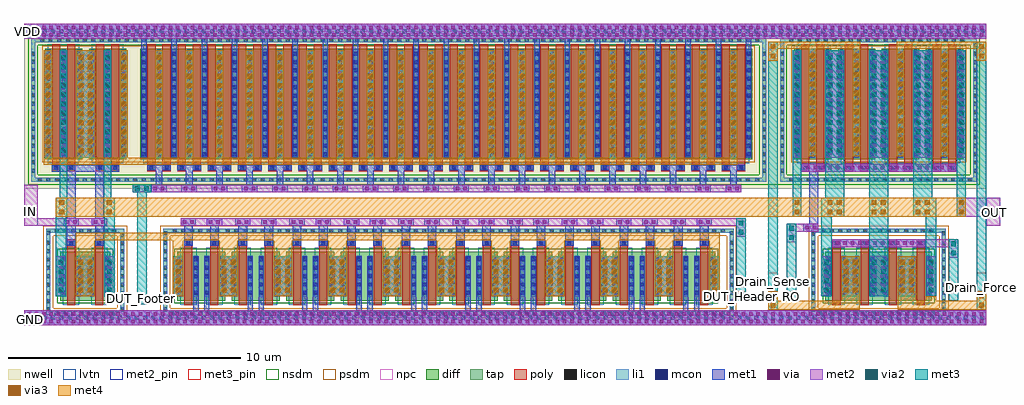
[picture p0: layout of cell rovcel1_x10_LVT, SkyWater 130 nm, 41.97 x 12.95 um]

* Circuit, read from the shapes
.subckt rovcel1_x10_LVT DUT_Footer DUT_Header Drain_Force Drain_Sense GND IN OUT RO RON VDD
XM1 n1 IN OUT GND sky130_fd_pr__nfet_01v8_lvt w=2.1 l=0.35 m=2
XM2 GND DUT_Header n1 GND sky130_fd_pr__nfet_01v8_lvt w=2.1 l=0.35 m=20
XM3 Drain_Sense RON OUT GND sky130_fd_pr__nfet_01v8_lvt w=2.1 l=0.35 m=2
XM4 Drain_Force RON OUT GND sky130_fd_pr__nfet_01v8_lvt w=2.1 l=0.35 m=2
XM5 OUT IN n2 VDD sky130_fd_pr__pfet_01v8_lvt w=4.75 l=0.35 m=4
XM6 n2 DUT_Footer VDD VDD sky130_fd_pr__pfet_01v8_lvt w=4.75 l=0.35 m=40
XM7 Drain_Sense RO OUT VDD sky130_fd_pr__pfet_01v8_lvt w=4.75 l=0.35 m=4
XM8 Drain_Force RO OUT VDD sky130_fd_pr__pfet_01v8_lvt w=4.75 l=0.35 m=4
.ends

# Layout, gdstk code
from math import pi, radians
import gdstk
lib = gdstk.Library(unit=1e-6, precision=1e-09)
def R(c, l, rs):  # rectangles x0, y0, x1, y1
    for r in rs: c.add(gdstk.rectangle(r[:2], r[2:], *l))
def A(c, l, x, y, w, h, nx, ny, dx, dy):  # array of equal rectangles
    R(c, l, [(x+i*dx, y+j*dy, x+i*dx+w, y+j*dy+h) for i in range(nx) for j in range(ny)])
def P(c, l, *ps):  # polygons
    for p in ps: c.add(gdstk.Polygon(p, *l))
nwell = (64, 20)
diff = (65, 20)
tap = (65, 44)
poly = (66, 20)
licon = (66, 44)
li1 = (67, 20)
mcon = (67, 44)
met1 = (68, 20)
via = (68, 44)
met2_pin = (69, 16)
met2 = (69, 20)
via2 = (69, 44)
met3_pin = (70, 16)
met3 = (70, 20)
via3 = (70, 44)
met4 = (71, 20)
nsdm = (93, 44)
psdm = (94, 20)
npc = (95, 20)
lvtn = (125, 44)

nfet = lib.new_cell('nfet')
R(nfet, diff, [(0,0,0.95,2.1)])
R(nfet, poly, [(0.3,-0.2,0.65,2.3), (0.3,2.3,0.65,2.63)])
A(nfet, licon, 0.065, 0.245, 0.17, 0.17, 1, 5, 0, 0.36)
A(nfet, licon, 0.715, 0.245, 0.17, 0.17, 1, 5, 0, 0.36)
R(nfet, licon, [(0.39,2.38,0.56,2.55)])
R(nfet, li1, [(0.065,0.165,0.235,1.935), (0.715,0.165,0.885,1.935), (0.31,2.38,0.64,2.55)])
A(nfet, mcon, 0.065, 0.245, 0.17, 0.17, 1, 5, 0, 0.36)
A(nfet, mcon, 0.715, 0.245, 0.17, 0.17, 1, 5, 0, 0.36)
R(nfet, mcon, [(0.39,2.38,0.56,2.55)])
R(nfet, met1, [(0.035,0.185,0.265,1.915), (0.685,0.185,0.915,1.915), (0.29,2.35,0.66,2.58)])
R(nfet, nsdm, [(-0.125,-0.125,1.075,2.225)])
R(nfet, npc, [(0.29,2.29,0.66,2.64)])
R(nfet, lvtn, [(0.12,-0.18,0.83,2.28)])

pfet_4 = lib.new_cell('pfet$4')
R(pfet_4, nwell, [(-0.305,-0.72,1.255,5.13)])
R(pfet_4, diff, [(0,0,0.95,4.75)])
R(pfet_4, poly, [(0.3,-0.53,0.65,-0.2), (0.3,-0.2,0.65,4.95)])
A(pfet_4, licon, 0.065, 0.13, 0.17, 0.17, 1, 13, 0, 0.36)
A(pfet_4, licon, 0.715, 0.13, 0.17, 0.17, 1, 13, 0, 0.36)
R(pfet_4, licon, [(0.39,-0.45,0.56,-0.28)])
R(pfet_4, li1, [(0.31,-0.45,0.64,-0.28), (0.065,0.05,0.235,4.7), (0.715,0.05,0.885,4.7)])
A(pfet_4, mcon, 0.065, 0.13, 0.17, 0.17, 1, 13, 0, 0.36)
A(pfet_4, mcon, 0.715, 0.13, 0.17, 0.17, 1, 13, 0, 0.36)
R(pfet_4, mcon, [(0.39,-0.45,0.56,-0.28)])
R(pfet_4, met1, [(0.29,-0.48,0.66,-0.25), (0.035,0.07,0.265,4.68), (0.685,0.07,0.915,4.68)])
R(pfet_4, psdm, [(-0.125,-0.125,1.075,4.875)])
R(pfet_4, npc, [(0.29,-0.54,0.66,-0.19)])
R(pfet_4, lvtn, [(0.12,-0.18,0.83,4.93)])

vias_gen_59 = lib.new_cell('vias_gen$59')
R(vias_gen_59, li1, [(0,0,41.375,0.64)])
A(vias_gen_59, mcon, 0.08, 0.235, 0.17, 0.17, 115, 1, 0.36, 0)
R(vias_gen_59, met1, [(0,0,41.375,0.64)])
A(vias_gen_59, via, 0.135, 0.085, 0.15, 0.15, 129, 2, 0.32, 0.32)
R(vias_gen_59, met2, [(0,0,41.375,0.64)])

vias_gen_33 = lib.new_cell('vias_gen$33')
R(vias_gen_33, met1, [(0,0,0.66,0.33)])
R(vias_gen_33, via, [(0.095,0.09,0.245,0.24), (0.415,0.09,0.565,0.24)])
R(vias_gen_33, met2, [(0,0,0.66,0.33)])

vias_gen_61 = lib.new_cell('vias_gen$61')
R(vias_gen_61, met1, [(0,0,4.63,0.33)])
A(vias_gen_61, via, 0.16, 0.09, 0.15, 0.15, 14, 1, 0.32, 0)
R(vias_gen_61, met2, [(0,0,4.63,0.33)])
A(vias_gen_61, via2, 0.215, 0.065, 0.2, 0.2, 11, 1, 0.4, 0)
R(vias_gen_61, met3, [(0,0,4.63,0.33)])
A(vias_gen_61, via3, 0.215, 0.065, 0.2, 0.2, 11, 1, 0.4, 0)
R(vias_gen_61, met4, [(0,0,4.63,0.33)])

vias_gen_58 = lib.new_cell('vias_gen$58')
R(vias_gen_58, met2, [(0,0,0.38,0.8)])
R(vias_gen_58, via2, [(0.09,0.1,0.29,0.3), (0.09,0.5,0.29,0.7)])
R(vias_gen_58, met3, [(0,0,0.38,0.8)])
R(vias_gen_58, via3, [(0.09,0.1,0.29,0.3), (0.09,0.5,0.29,0.7)])
R(vias_gen_58, met4, [(0,0,0.38,0.8)])

vias_gen_55 = lib.new_cell('vias_gen$55')
R(vias_gen_55, met3, [(0,0,0.82,0.8)])
R(vias_gen_55, via3, [(0.11,0.1,0.31,0.3), (0.51,0.1,0.71,0.3), (0.11,0.5,0.31,0.7), (0.51,0.5,0.71,0.7)])
R(vias_gen_55, met4, [(0,0,0.82,0.8)])

vias_gen_57 = lib.new_cell('vias_gen$57')
R(vias_gen_57, met3, [(0,0,0.38,0.8)])
R(vias_gen_57, via3, [(0.09,0.1,0.29,0.3), (0.09,0.5,0.29,0.7)])
R(vias_gen_57, met4, [(0,0,0.38,0.8)])

vias_gen_50 = lib.new_cell('vias_gen$50')
R(vias_gen_50, met3, [(0,0,0.4,0.8)])
R(vias_gen_50, via3, [(0.1,0.1,0.3,0.3), (0.1,0.5,0.3,0.7)])
R(vias_gen_50, met4, [(0,0,0.4,0.8)])

vias_gen_40 = lib.new_cell('vias_gen$40')
R(vias_gen_40, met1, [(0,0,0.35,6.69)])
A(vias_gen_40, via, 0.1, 0.23, 0.15, 0.15, 1, 20, 0, 0.32)
R(vias_gen_40, met2, [(0,0,0.35,6.69)])

vias_gen_52 = lib.new_cell('vias_gen$52')
R(vias_gen_52, met1, [(0,0,0.82,4.61)])
A(vias_gen_52, via, 0.175, 0.15, 0.15, 0.15, 1, 14, 0, 0.32)
A(vias_gen_52, via, 0.495, 0.15, 0.15, 0.15, 1, 14, 0, 0.32)
R(vias_gen_52, met2, [(0,0,0.82,4.61)])
A(vias_gen_52, via2, 0.11, 0.205, 0.2, 0.2, 1, 11, 0, 0.4)
A(vias_gen_52, via2, 0.51, 0.205, 0.2, 0.2, 1, 11, 0, 0.4)
R(vias_gen_52, met3, [(0,0,0.82,4.61)])

vias_gen_54 = lib.new_cell('vias_gen$54')
R(vias_gen_54, met1, [(0,0,0.38,4.61)])
A(vias_gen_54, via, 0.115, 0.15, 0.15, 0.15, 1, 14, 0, 0.32)
R(vias_gen_54, met2, [(0,0,0.38,4.61)])
A(vias_gen_54, via2, 0.09, 0.205, 0.2, 0.2, 1, 11, 0, 0.4)
R(vias_gen_54, met3, [(0,0,0.38,4.61)])

vias_gen_53 = lib.new_cell('vias_gen$53')
R(vias_gen_53, met1, [(0,0,4.61,0.33)])
A(vias_gen_53, via, 0.15, 0.09, 0.15, 0.15, 14, 1, 0.32, 0)
R(vias_gen_53, met2, [(0,0,4.61,0.33)])
A(vias_gen_53, via2, 0.205, 0.065, 0.2, 0.2, 11, 1, 0.4, 0)
R(vias_gen_53, met3, [(0,0,4.61,0.33)])
A(vias_gen_53, via3, 0.205, 0.065, 0.2, 0.2, 11, 1, 0.4, 0)
R(vias_gen_53, met4, [(0,0,4.61,0.33)])

vias_gen_28 = lib.new_cell('vias_gen$28')
R(vias_gen_28, met1, [(0,0,1.73,0.8)])
A(vias_gen_28, via, 0.15, 0.165, 0.15, 0.15, 5, 2, 0.32, 0.32)
R(vias_gen_28, met2, [(0,0,1.73,0.8)])
A(vias_gen_28, via2, 0.165, 0.1, 0.2, 0.2, 4, 2, 0.4, 0.4)
R(vias_gen_28, met3, [(0,0,1.73,0.8)])
A(vias_gen_28, via3, 0.165, 0.1, 0.2, 0.2, 4, 2, 0.4, 0.4)
R(vias_gen_28, met4, [(0,0,1.73,0.8)])

vias_gen_27 = lib.new_cell('vias_gen$27')
R(vias_gen_27, met1, [(0,0,1.73,0.45)])
A(vias_gen_27, via, 0.15, 0.15, 0.15, 0.15, 5, 1, 0.32, 0)
R(vias_gen_27, met2, [(0,0,1.73,0.45)])
A(vias_gen_27, via2, 0.165, 0.125, 0.2, 0.2, 4, 1, 0.4, 0)
R(vias_gen_27, met3, [(0,0,1.73,0.45)])
A(vias_gen_27, via3, 0.165, 0.125, 0.2, 0.2, 4, 1, 0.4, 0)
R(vias_gen_27, met4, [(0,0,1.73,0.45)])

vias_gen_12 = lib.new_cell('vias_gen$12')
R(vias_gen_12, met1, [(0,0,1.73,0.45)])
A(vias_gen_12, via, 0.15, 0.15, 0.15, 0.15, 5, 1, 0.32, 0)
R(vias_gen_12, met2, [(0,0,1.73,0.45)])
A(vias_gen_12, via2, 0.165, 0.125, 0.2, 0.2, 4, 1, 0.4, 0)
R(vias_gen_12, met3, [(0,0,1.73,0.45)])

vias_gen_42 = lib.new_cell('vias_gen$42')
R(vias_gen_42, met1, [(0,0,0.35,4)])
A(vias_gen_42, via, 0.1, 0.165, 0.15, 0.15, 1, 12, 0, 0.32)
R(vias_gen_42, met2, [(0,0,0.35,4)])

vias_gen_32 = lib.new_cell('vias_gen$32')
R(vias_gen_32, met1, [(0,0,0.8,1.73)])
A(vias_gen_32, via, 0.165, 0.15, 0.15, 0.15, 1, 5, 0, 0.32)
A(vias_gen_32, via, 0.485, 0.15, 0.15, 0.15, 1, 5, 0, 0.32)
R(vias_gen_32, met2, [(0,0,0.8,1.73)])
A(vias_gen_32, via2, 0.1, 0.165, 0.2, 0.2, 1, 4, 0, 0.4)
A(vias_gen_32, via2, 0.5, 0.165, 0.2, 0.2, 1, 4, 0, 0.4)
R(vias_gen_32, met3, [(0,0,0.8,1.73)])
A(vias_gen_32, via3, 0.1, 0.165, 0.2, 0.2, 1, 4, 0, 0.4)
A(vias_gen_32, via3, 0.5, 0.165, 0.2, 0.2, 1, 4, 0, 0.4)
R(vias_gen_32, met4, [(0,0,0.8,1.73)])

vias_gen_39 = lib.new_cell('vias_gen$39')
R(vias_gen_39, met1, [(0,0,0.8,1.73)])
A(vias_gen_39, via, 0.165, 0.15, 0.15, 0.15, 1, 5, 0, 0.32)
A(vias_gen_39, via, 0.485, 0.15, 0.15, 0.15, 1, 5, 0, 0.32)
R(vias_gen_39, met2, [(0,0,0.8,1.73)])
A(vias_gen_39, via2, 0.1, 0.165, 0.2, 0.2, 1, 4, 0, 0.4)
A(vias_gen_39, via2, 0.5, 0.165, 0.2, 0.2, 1, 4, 0, 0.4)
R(vias_gen_39, met3, [(0,0,0.8,1.73)])

vias_gen_37 = lib.new_cell('vias_gen$37')
R(vias_gen_37, met2, [(0,0,0.4,0.8)])
R(vias_gen_37, via2, [(0.1,0.1,0.3,0.3), (0.1,0.5,0.3,0.7)])
R(vias_gen_37, met3, [(0,0,0.4,0.8)])

vias_gen_56 = lib.new_cell('vias_gen$56')
R(vias_gen_56, met1, [(0,0,0.66,0.35)])
R(vias_gen_56, via, [(0.095,0.1,0.245,0.25), (0.415,0.1,0.565,0.25)])
R(vias_gen_56, met2, [(0,0,0.66,0.35)])

vias_gen_30 = lib.new_cell('vias_gen$30')
R(vias_gen_30, met1, [(0,0,0.82,1.73)])
A(vias_gen_30, via, 0.175, 0.15, 0.15, 0.15, 1, 5, 0, 0.32)
A(vias_gen_30, via, 0.495, 0.15, 0.15, 0.15, 1, 5, 0, 0.32)
R(vias_gen_30, met2, [(0,0,0.82,1.73)])
A(vias_gen_30, via2, 0.11, 0.165, 0.2, 0.2, 1, 4, 0, 0.4)
A(vias_gen_30, via2, 0.51, 0.165, 0.2, 0.2, 1, 4, 0, 0.4)
R(vias_gen_30, met3, [(0,0,0.82,1.73)])
A(vias_gen_30, via3, 0.11, 0.165, 0.2, 0.2, 1, 4, 0, 0.4)
A(vias_gen_30, via3, 0.51, 0.165, 0.2, 0.2, 1, 4, 0, 0.4)
R(vias_gen_30, met4, [(0,0,0.82,1.73)])

vias_gen_36 = lib.new_cell('vias_gen$36')
R(vias_gen_36, met2, [(0,0,0.8,0.33)])
R(vias_gen_36, via2, [(0.1,0.065,0.3,0.265), (0.5,0.065,0.7,0.265)])
R(vias_gen_36, met3, [(0,0,0.8,0.33)])

vias_gen_31 = lib.new_cell('vias_gen$31')
R(vias_gen_31, met3, [(0,0,0.47,0.8)])
R(vias_gen_31, via3, [(0.135,0.1,0.335,0.3), (0.135,0.5,0.335,0.7)])
R(vias_gen_31, met4, [(0,0,0.47,0.8)])

vias_gen_16 = lib.new_cell('vias_gen$16')
R(vias_gen_16, met1, [(0,0,4.61,0.33)])
A(vias_gen_16, via, 0.15, 0.09, 0.15, 0.15, 14, 1, 0.32, 0)
R(vias_gen_16, met2, [(0,0,4.61,0.33)])
A(vias_gen_16, via2, 0.205, 0.065, 0.2, 0.2, 11, 1, 0.4, 0)
R(vias_gen_16, met3, [(0,0,4.61,0.33)])

vias_gen_43 = lib.new_cell('vias_gen$43')
R(vias_gen_43, met1, [(0,0,0.82,4.63)])
A(vias_gen_43, via, 0.175, 0.16, 0.15, 0.15, 1, 14, 0, 0.32)
A(vias_gen_43, via, 0.495, 0.16, 0.15, 0.15, 1, 14, 0, 0.32)
R(vias_gen_43, met2, [(0,0,0.82,4.63)])
A(vias_gen_43, via2, 0.11, 0.215, 0.2, 0.2, 1, 11, 0, 0.4)
A(vias_gen_43, via2, 0.51, 0.215, 0.2, 0.2, 1, 11, 0, 0.4)
R(vias_gen_43, met3, [(0,0,0.82,4.63)])
A(vias_gen_43, via3, 0.11, 0.215, 0.2, 0.2, 1, 11, 0, 0.4)
A(vias_gen_43, via3, 0.51, 0.215, 0.2, 0.2, 1, 11, 0, 0.4)
R(vias_gen_43, met4, [(0,0,0.82,4.63)])

vias_gen_60 = lib.new_cell('vias_gen$60')
R(vias_gen_60, met1, [(0,0,0.38,4.63)])
A(vias_gen_60, via, 0.115, 0.16, 0.15, 0.15, 1, 14, 0, 0.32)
R(vias_gen_60, met2, [(0,0,0.38,4.63)])
A(vias_gen_60, via2, 0.09, 0.215, 0.2, 0.2, 1, 11, 0, 0.4)
R(vias_gen_60, met3, [(0,0,0.38,4.63)])
A(vias_gen_60, via3, 0.09, 0.215, 0.2, 0.2, 1, 11, 0, 0.4)
R(vias_gen_60, met4, [(0,0,0.38,4.63)])

vias_gen_34 = lib.new_cell('vias_gen$34')
R(vias_gen_34, met3, [(0,0,0.5,0.8)])
R(vias_gen_34, via3, [(0.15,0.1,0.35,0.3), (0.15,0.5,0.35,0.7)])
R(vias_gen_34, met4, [(0,0,0.5,0.8)])

vias_gen_10 = lib.new_cell('vias_gen$10')

pfet_2 = lib.new_cell('pfet$2')

vias_gen = lib.new_cell('vias_gen')

vias_gen_2 = lib.new_cell('vias_gen$2')

vias_gen_7 = lib.new_cell('vias_gen$7')

vias_gen_6 = lib.new_cell('vias_gen$6')

nfet_2 = lib.new_cell('nfet$2')

rovcel1_x10_lvt = lib.new_cell('rovcel1_x10_LVT')
R(rovcel1_x10_lvt, nwell, [(0.005,18.995,32.21,25.775), (32.21,18.995,41.38,25.775)])
A(rovcel1_x10_lvt, diff, 7.545, 14.19, 0.17, 2.1, 4, 1, 2.34, 0)
A(rovcel1_x10_lvt, diff, 16.91, 14.19, 0.17, 2.1, 6, 1, 2.34, 0)
R(rovcel1_x10_lvt, diff, [(2.51,14.19,2.77,16.29), (35.415,14.19,38.095,16.29)])
R(rovcel1_x10_lvt, tap, [(0.96,13.555,1.13,17.275), (1.13,13.555,4.15,13.725), (4.15,13.555,4.32,17.275), (5.995,13.555,6.165,17.275), (6.165,13.555,30.345,13.725), (30.345,13.555,30.515,17.275), (33.865,13.555,34.035,17.275), (34.035,13.555,39.475,13.725), (39.475,13.555,39.645,17.275), (1.13,17.105,4.15,17.275), (6.165,17.105,30.345,17.275), (34.035,17.105,39.475,17.275), (0.31,19.3,31.91,19.47), (0.48,19.3,4.36,19.47), (31.74,19.3,31.91,25.3), (32.515,19.3,32.685,25.3), (32.515,19.3,40.98,19.47), (32.515,19.3,40.98,19.47), (40.81,19.3,40.98,25.3), (0.31,19.305,0.48,25.305), (0.31,25.3,31.91,25.47), (32.515,25.3,40.98,25.47), (32.515,25.3,40.98,25.47)])
A(rovcel1_x10_lvt, licon, 2.035, 13.555, 0.17, 0.17, 3, 1, 0.36, 0)
A(rovcel1_x10_lvt, licon, 7.145, 13.555, 0.17, 0.17, 3, 2, 0.36, 3.55)
A(rovcel1_x10_lvt, licon, 9.825, 13.555, 0.17, 0.17, 8, 2, 0.36, 3.55)
A(rovcel1_x10_lvt, licon, 13.13, 13.555, 0.17, 0.17, 3, 2, 0.38, 3.55)
A(rovcel1_x10_lvt, licon, 14.25, 13.555, 0.17, 0.17, 9, 2, 0.36, 3.55)
A(rovcel1_x10_lvt, licon, 17.89, 13.555, 0.17, 0.17, 8, 2, 0.36, 3.55)
A(rovcel1_x10_lvt, licon, 20.81, 13.555, 0.17, 0.17, 6, 2, 0.36, 3.55)
A(rovcel1_x10_lvt, licon, 23.395, 13.555, 0.17, 0.17, 3, 2, 0.38, 3.55)
A(rovcel1_x10_lvt, licon, 24.515, 13.555, 0.17, 0.17, 9, 2, 0.36, 3.55)
A(rovcel1_x10_lvt, licon, 28.155, 13.555, 0.17, 0.17, 6, 2, 0.36, 3.55)
A(rovcel1_x10_lvt, licon, 37.175, 13.555, 0.17, 0.17, 5, 1, 0.36, 0)
A(rovcel1_x10_lvt, licon, 0.96, 14.07, 0.17, 0.17, 1, 8, 0, 0.36)
A(rovcel1_x10_lvt, licon, 4.15, 14.07, 0.17, 0.17, 1, 7, 0, 0.36)
A(rovcel1_x10_lvt, licon, 5.995, 14.07, 0.17, 0.17, 1, 8, 0, 0.36)
A(rovcel1_x10_lvt, licon, 30.345, 14.07, 0.17, 0.17, 1, 8, 0, 0.36)
A(rovcel1_x10_lvt, licon, 33.865, 14.07, 0.17, 0.17, 1, 8, 0, 0.36)
A(rovcel1_x10_lvt, licon, 39.475, 14.07, 0.17, 0.17, 1, 6, 0, 0.36)
A(rovcel1_x10_lvt, licon, 35.015, 17.105, 0.17, 0.17, 3, 1, 0.36, 0)
A(rovcel1_x10_lvt, licon, 37.85, 17.105, 0.17, 0.17, 3, 1, 0.36, 0)
A(rovcel1_x10_lvt, licon, 2.18, 19.3, 0.17, 0.17, 7, 2, 0.36, 6)
A(rovcel1_x10_lvt, licon, 5.065, 19.3, 0.17, 0.17, 3, 2, 0.38, 6)
A(rovcel1_x10_lvt, licon, 6.185, 19.3, 0.17, 0.17, 9, 2, 0.36, 6)
A(rovcel1_x10_lvt, licon, 9.825, 19.3, 0.17, 0.17, 8, 2, 0.36, 6)
A(rovcel1_x10_lvt, licon, 13.13, 19.3, 0.17, 0.17, 3, 2, 0.38, 6)
A(rovcel1_x10_lvt, licon, 14.25, 19.3, 0.17, 0.17, 9, 2, 0.36, 6)
A(rovcel1_x10_lvt, licon, 17.89, 19.3, 0.17, 0.17, 8, 2, 0.36, 6)
A(rovcel1_x10_lvt, licon, 20.81, 19.3, 0.17, 0.17, 6, 2, 0.36, 6)
A(rovcel1_x10_lvt, licon, 23.395, 19.3, 0.17, 0.17, 3, 2, 0.38, 6)
A(rovcel1_x10_lvt, licon, 24.515, 19.3, 0.17, 0.17, 9, 2, 0.36, 6)
A(rovcel1_x10_lvt, licon, 28.155, 19.3, 0.17, 0.17, 8, 2, 0.36, 6)
A(rovcel1_x10_lvt, licon, 31.74, 19.68, 0.17, 0.17, 1, 15, 0, 0.36)
A(rovcel1_x10_lvt, licon, 32.515, 19.68, 0.17, 0.17, 1, 15, 0, 0.36)
A(rovcel1_x10_lvt, licon, 40.81, 19.68, 0.17, 0.17, 1, 16, 0, 0.36)
A(rovcel1_x10_lvt, licon, 0.31, 19.685, 0.17, 0.17, 1, 15, 0, 0.36)
A(rovcel1_x10_lvt, licon, 1.06, 25.3, 0.17, 0.17, 3, 1, 0.38, 0)
R(rovcel1_x10_lvt, licon, [(3.115,13.55,3.285,13.72), (8.225,13.55,8.395,13.72), (36.065,13.55,36.235,13.72), (38.975,13.55,39.145,13.72), (1.335,13.555,1.505,13.725), (1.695,13.555,1.865,13.725), (3.47,13.555,3.64,13.725), (3.81,13.555,3.98,13.725), (6.385,13.555,6.555,13.725), (6.745,13.555,6.915,13.725), (8.67,13.555,8.84,13.725), (9.08,13.555,9.25,13.725), (9.445,13.555,9.615,13.725), (12.77,13.555,12.94,13.725), (17.51,13.555,17.68,13.725), (23.035,13.555,23.205,13.725), (27.775,13.555,27.945,13.725), (34.24,13.555,34.41,13.725), (34.6,13.555,34.77,13.725), (34.98,13.555,35.15,13.725), (35.345,13.555,35.515,13.725), (35.705,13.555,35.875,13.725), (36.43,13.555,36.6,13.725), (36.825,13.555,36.995,13.725), (0.96,13.725,1.13,13.895), (4.15,13.725,4.32,13.895), (5.995,13.725,6.165,13.895), (30.345,13.725,30.515,13.895), (33.865,13.725,34.035,13.895), (39.475,13.725,39.645,13.895), (39.475,16.22,39.645,16.39), (39.475,16.565,39.645,16.735), (4.15,16.575,4.32,16.745), (4.15,16.915,4.32,17.085), (33.865,16.975,34.035,17.145), (5.995,17,6.165,17.17), (39.475,17.005,39.645,17.175), (30.345,17.01,30.515,17.18), (0.96,17.015,1.13,17.185), (3.1,17.1,3.27,17.27), (8.225,17.1,8.395,17.27), (36.095,17.1,36.265,17.27), (38.93,17.1,39.1,17.27), (1.335,17.105,1.505,17.275), (1.68,17.105,1.85,17.275), (2.04,17.105,2.21,17.275), (2.38,17.105,2.55,17.275), (2.735,17.105,2.905,17.275), (3.465,17.105,3.635,17.275), (3.81,17.105,3.98,17.275), (6.405,17.105,6.575,17.275), (6.765,17.105,6.935,17.275), (8.68,17.105,8.85,17.275), (9.055,17.105,9.225,17.275), (9.445,17.105,9.615,17.275), (12.77,17.105,12.94,17.275), (17.51,17.105,17.68,17.275), (23.035,17.105,23.205,17.275), (27.775,17.105,27.945,17.275), (34.29,17.105,34.46,17.275), (34.65,17.105,34.82,17.275), (36.74,17.105,36.91,17.275), (37.095,17.105,37.265,17.275), (37.455,17.105,37.625,17.275), (0.6,19.3,0.77,19.47), (0.96,19.3,1.13,19.47), (1.355,19.3,1.525,19.47), (1.355,19.3,1.525,19.47), (1.75,19.3,1.92,19.47), (1.75,19.3,1.92,19.47), (4.705,19.3,4.875,19.47), (9.445,19.3,9.615,19.47), (12.77,19.3,12.94,19.47), (17.51,19.3,17.68,19.47), (23.035,19.3,23.205,19.47), (27.775,19.3,27.945,19.47), (31.045,19.3,31.215,19.47), (31.44,19.3,31.61,19.47), (32.915,19.3,33.085,19.47), (32.915,19.3,33.085,19.47), (33.275,19.3,33.445,19.47), (33.275,19.3,33.445,19.47), (33.655,19.3,33.825,19.47), (33.655,19.3,33.825,19.47), (34.035,19.3,34.205,19.47), (34.035,19.3,34.205,19.47), (34.395,19.3,34.565,19.47), (34.395,19.3,34.565,19.47), (34.755,19.3,34.925,19.47), (34.755,19.3,34.925,19.47), (35.115,19.3,35.285,19.47), (35.115,19.3,35.285,19.47), (35.475,19.3,35.645,19.47), (35.475,19.3,35.645,19.47), (35.835,19.3,36.005,19.47), (35.835,19.3,36.005,19.47), (36.195,19.3,36.365,19.47), (36.195,19.3,36.365,19.47), (36.555,19.3,36.725,19.47), (36.555,19.3,36.725,19.47), (36.925,19.3,37.095,19.47), (36.925,19.3,37.095,19.47), (37.305,19.3,37.475,19.47), (37.305,19.3,37.475,19.47), (37.685,19.3,37.855,19.47), (37.685,19.3,37.855,19.47), (38.065,19.3,38.235,19.47), (38.065,19.3,38.235,19.47), (38.425,19.3,38.595,19.47), (38.425,19.3,38.595,19.47), (38.785,19.3,38.955,19.47), (38.785,19.3,38.955,19.47), (39.145,19.3,39.315,19.47), (39.145,19.3,39.315,19.47), (39.505,19.3,39.675,19.47), (39.505,19.3,39.675,19.47), (39.865,19.3,40.035,19.47), (39.865,19.3,40.035,19.47), (40.225,19.3,40.395,19.47), (40.225,19.3,40.395,19.47), (40.585,19.3,40.755,19.47), (40.585,19.3,40.755,19.47), (0.7,25.3,0.87,25.47), (4.705,25.3,4.875,25.47), (9.445,25.3,9.615,25.47), (12.77,25.3,12.94,25.47), (17.51,25.3,17.68,25.47), (23.035,25.3,23.205,25.47), (27.775,25.3,27.945,25.47), (31.045,25.3,31.215,25.47), (31.44,25.3,31.61,25.47), (32.915,25.3,33.085,25.47), (32.915,25.3,33.085,25.47), (33.275,25.3,33.445,25.47), (33.275,25.3,33.445,25.47), (33.655,25.3,33.825,25.47), (33.655,25.3,33.825,25.47), (34.035,25.3,34.205,25.47), (34.035,25.3,34.205,25.47), (34.395,25.3,34.565,25.47), (34.395,25.3,34.565,25.47), (34.755,25.3,34.925,25.47), (34.755,25.3,34.925,25.47), (35.115,25.3,35.285,25.47), (35.115,25.3,35.285,25.47), (35.475,25.3,35.645,25.47), (35.475,25.3,35.645,25.47), (35.835,25.3,36.005,25.47), (35.835,25.3,36.005,25.47), (36.195,25.3,36.365,25.47), (36.195,25.3,36.365,25.47), (36.555,25.3,36.725,25.47), (36.555,25.3,36.725,25.47), (36.965,25.3,37.135,25.47), (36.965,25.3,37.135,25.47), (37.345,25.3,37.515,25.47), (37.345,25.3,37.515,25.47), (37.725,25.3,37.895,25.47), (37.725,25.3,37.895,25.47), (38.105,25.3,38.275,25.47), (38.105,25.3,38.275,25.47), (38.465,25.3,38.635,25.47), (38.465,25.3,38.635,25.47), (38.825,25.3,38.995,25.47), (38.825,25.3,38.995,25.47), (39.185,25.3,39.355,25.47), (39.185,25.3,39.355,25.47), (39.545,25.3,39.715,25.47), (39.545,25.3,39.715,25.47), (39.905,25.3,40.075,25.47), (39.905,25.3,40.075,25.47), (40.265,25.3,40.435,25.47), (40.265,25.3,40.435,25.47)])
R(rovcel1_x10_lvt, li1, [(0.96,13.555,1.13,17.275), (1.13,13.555,4.15,13.725), (4.15,13.555,4.32,17.275), (5.995,13.555,6.165,17.275), (6.165,13.555,30.345,13.725), (30.345,13.555,30.515,17.275), (33.865,13.555,34.035,17.275), (34.035,13.555,39.475,13.725), (39.475,13.555,39.645,17.275), (1.13,17.105,4.15,17.275), (6.165,17.105,30.345,17.275), (34.035,17.105,39.475,17.275), (0.31,19.3,31.91,19.47), (31.74,19.3,31.91,25.3), (32.515,19.3,32.685,25.3), (32.515,19.3,40.98,19.47), (32.515,19.3,40.98,19.47), (40.81,19.3,40.98,25.3), (0.31,19.305,0.48,25.305), (0.31,25.3,31.91,25.47), (32.515,25.3,40.98,25.47), (32.515,25.3,40.98,25.47)])
A(rovcel1_x10_lvt, met1, 5.67, 19.175, 0.28, 0.845, 20, 1, 1.3, 0)
A(rovcel1_x10_lvt, met1, 5.045, 24.95, 0.23, 0.495, 21, 1, 1.3, 0)
R(rovcel1_x10_lvt, met1, [(7.28,13.775,7.51,14.375), (7.75,13.775,7.98,14.375), (9.62,13.775,9.85,14.375), (10.09,13.775,10.32,14.375), (11.96,13.775,12.19,14.375), (12.43,13.775,12.66,14.375), (14.3,13.775,14.53,14.375), (14.77,13.775,15,14.375), (16.645,13.775,16.875,14.375), (17.115,13.775,17.345,14.375), (18.985,13.775,19.215,14.375), (19.455,13.775,19.685,14.375), (21.325,13.775,21.555,14.375), (21.795,13.775,22.025,14.375), (23.665,13.775,23.895,14.375), (24.135,13.775,24.365,14.375), (26.005,13.775,26.235,14.375), (26.475,13.775,26.705,14.375), (28.345,13.775,28.575,14.375), (28.815,13.775,29.045,14.375), (1.85,16.77,2.22,17.4), (3.06,16.77,3.43,17.4), (6.885,16.77,7.255,17.73), (8.005,16.77,8.375,17.73), (9.225,16.77,9.595,17.73), (10.345,16.77,10.715,17.73), (11.565,16.77,11.935,17.73), (12.685,16.77,13.055,17.73), (13.905,16.77,14.275,17.73), (15.025,16.77,15.395,17.73), (16.25,16.77,16.62,17.73), (17.37,16.77,17.74,17.73), (18.59,16.77,18.96,17.73), (19.71,16.77,20.08,17.73), (20.93,16.77,21.3,17.73), (22.05,16.77,22.42,17.73), (23.27,16.77,23.64,17.73), (24.39,16.77,24.76,17.73), (25.61,16.77,25.98,17.73), (26.73,16.77,27.1,17.73), (27.95,16.77,28.32,17.73), (29.07,16.77,29.44,17.73), (33.765,17.5,34.165,19.73), (1.85,17.73,2.22,20.02), (3.06,17.73,3.43,20.02), (1.2,19.73,4.11,20.02)])
R(rovcel1_x10_lvt, met2_pin, [(0.005,13.135,41.38,13.775), (0.005,17.4,0.595,19.18), (0.005,17.4,0.595,19.18), (41.38,17.4,41.97,18.6), (0.005,25.445,41.38,26.085)])
R(rovcel1_x10_lvt, met2, [(38.755,16.48,39.77,16.83), (33.21,17.15,33.505,17.5), (0.005,17.4,3.575,17.73), (6.74,17.4,31.04,17.73), (41.38,17.4,41.97,18.6), (0.005,17.73,0.595,19.18), (0.005,17.73,0.595,19.18), (40.5,17.8,41.38,18.6), (5.475,18.845,30.835,19.175)])
R(rovcel1_x10_lvt, met3_pin, [(4.875,14.035,5.275,14.435), (4.875,14.035,5.275,14.435), (30.64,14.19,31.04,14.59), (32.81,14.19,33.21,14.59), (39.77,14.19,40.17,14.59), (32.015,14.59,32.415,15.39), (40.98,14.59,41.38,15.39)])
A(rovcel1_x10_lvt, met3, 34.45, 18.6, 0.82, 1.74, 3, 1, 1.89, 0)
R(rovcel1_x10_lvt, met3, [(4.875,14.035,5.275,18.845), (30.64,14.19,31.04,16.93), (32.81,14.19,33.21,16.7), (39.77,14.19,40.17,16.03), (32.015,14.59,32.415,24.51), (40.98,14.59,41.38,24.51), (1.375,16.105,1.825,17.8), (34.28,16.105,34.73,18.6), (36.355,16.105,37.155,17.8), (38.78,16.105,39.23,18.6), (1.545,18.6,1.875,20.34), (3.435,18.6,3.765,20.34), (33.05,18.6,33.43,20.34), (40.12,18.6,40.5,20.34)])
P(rovcel1_x10_lvt, met3, [(3.455,16.105),(3.455,17.8),(3.54,17.8),(3.905,17.8),(3.905,16.105)])
A(rovcel1_x10_lvt, met4, 8.4, 16.105, 0.8, 0.68, 5, 1, 2.34, 0)
A(rovcel1_x10_lvt, met4, 20.105, 16.105, 0.8, 0.68, 4, 1, 2.34, 0)
R(rovcel1_x10_lvt, met4, [(32.415,13.79,35.945,14.19), (37.565,13.79,41.38,14.19), (35.145,14.19,35.945,14.375), (37.565,14.19,38.365,14.375), (38.78,14.19,39.23,14.375), (2.23,16.105,3.05,16.785), (6.41,16.105,6.86,16.785), (29.465,16.105,29.915,16.785), (2.23,16.785,29.915,17.105), (1.875,17.8,40.5,18.6), (0.845,20.02,30.675,20.32), (32.415,25.01,35.97,25.31), (37.53,25.01,40.98,25.31)])
R(rovcel1_x10_lvt, nsdm, [(2.635,14.065,2.645,16.415), (8.79,14.065,27.535,16.415), (35.54,14.065,37.97,16.415), (0.185,19.175,32.035,19.595), (0.605,19.175,32.035,19.595), (32.035,19.175,32.39,25.595), (32.39,19.175,41.11,19.595), (32.39,19.175,41.11,19.595), (0.185,19.595,0.605,25.175), (31.615,19.595,32.035,25.175), (32.39,19.595,32.81,25.175), (40.69,19.595,41.11,25.175), (40.69,19.595,41.11,25.175), (0.185,25.175,32.035,25.595), (32.39,25.175,41.11,25.595), (32.39,25.175,41.11,25.595)])
R(rovcel1_x10_lvt, psdm, [(0.835,13.43,1.255,17.4), (1.255,13.43,4.025,13.85), (4.025,13.43,4.445,17.4), (5.87,13.43,6.29,17.4), (6.29,13.43,30.22,13.85), (30.22,13.43,30.64,17.4), (33.74,13.43,34.16,17.4), (34.16,13.43,39.35,13.85), (39.35,13.43,39.77,17.4), (1.255,16.98,4.025,17.4), (6.29,16.98,30.22,17.4), (34.16,16.98,39.35,17.4), (2.635,20.145,4.885,25.145), (34.84,20.145,38.66,25.145)])
rovcel1_x10_lvt.add(gdstk.Reference(nfet, (16.91,14.19), rotation=pi, x_reflection=True))
rovcel1_x10_lvt.add(gdstk.Reference(pfet_4, (16.06,20.27)))
rovcel1_x10_lvt.add(gdstk.Reference(pfet_4, (16.71,20.27)))
rovcel1_x10_lvt.add(gdstk.Reference(vias_gen_59, (0.005,25.445)))
rovcel1_x10_lvt.add(gdstk.Reference(vias_gen_59, (0.005,13.135)))
rovcel1_x10_lvt.add(gdstk.Reference(vias_gen_33, (28.925,17.4)))
rovcel1_x10_lvt.add(gdstk.Reference(nfet, (29.73,14.19), rotation=pi, x_reflection=True))
rovcel1_x10_lvt.add(gdstk.Reference(vias_gen_61, (29.375,20.32), rotation=pi/2))
rovcel1_x10_lvt.add(gdstk.Reference(vias_gen_58, (40.12,17.8)))
rovcel1_x10_lvt.add(gdstk.Reference(vias_gen_55, (38.23,17.8)))
rovcel1_x10_lvt.add(gdstk.Reference(vias_gen_55, (36.34,17.8)))
rovcel1_x10_lvt.add(gdstk.Reference(vias_gen_55, (34.45,17.8)))
rovcel1_x10_lvt.add(gdstk.Reference(vias_gen_57, (33.05,17.8)))
rovcel1_x10_lvt.add(gdstk.Reference(vias_gen_33, (28.875,18.845)))
rovcel1_x10_lvt.add(gdstk.Reference(pfet_4, (29.06,20.27)))
rovcel1_x10_lvt.add(gdstk.Reference(pfet_4, (28.41,20.27)))
rovcel1_x10_lvt.add(gdstk.Reference(vias_gen_50, (32.015,24.51)))
rovcel1_x10_lvt.add(gdstk.Reference(vias_gen_40, (40.095,19.73), rotation=pi/2))
rovcel1_x10_lvt.add(gdstk.Reference(vias_gen_52, (34.45,20.34)))
rovcel1_x10_lvt.add(gdstk.Reference(vias_gen_54, (33.05,20.34)))
rovcel1_x10_lvt.add(gdstk.Reference(pfet_4, (35.655,20.27)))
rovcel1_x10_lvt.add(gdstk.Reference(pfet_4, (35.005,20.27)))
rovcel1_x10_lvt.add(gdstk.Reference(pfet_4, (33.765,20.27)))
rovcel1_x10_lvt.add(gdstk.Reference(vias_gen_53, (35.97,20.4), rotation=pi/2))
rovcel1_x10_lvt.add(gdstk.Reference(pfet_4, (33.115,20.27)))
rovcel1_x10_lvt.add(gdstk.Reference(vias_gen_53, (34.08,20.4), rotation=pi/2))
rovcel1_x10_lvt.add(gdstk.Reference(vias_gen_52, (36.34,20.34)))
rovcel1_x10_lvt.add(gdstk.Reference(vias_gen_52, (38.235,20.34)))
rovcel1_x10_lvt.add(gdstk.Reference(pfet_4, (39.435,20.27)))
rovcel1_x10_lvt.add(gdstk.Reference(pfet_4, (38.785,20.27)))
rovcel1_x10_lvt.add(gdstk.Reference(pfet_4, (37.545,20.27)))
rovcel1_x10_lvt.add(gdstk.Reference(vias_gen_53, (39.75,20.4), rotation=pi/2))
rovcel1_x10_lvt.add(gdstk.Reference(pfet_4, (36.895,20.27)))
rovcel1_x10_lvt.add(gdstk.Reference(vias_gen_33, (30.175,18.845)))
rovcel1_x10_lvt.add(gdstk.Reference(vias_gen_50, (40.98,24.51)))
rovcel1_x10_lvt.add(gdstk.Reference(vias_gen_61, (30.675,20.32), rotation=pi/2))
rovcel1_x10_lvt.add(gdstk.Reference(vias_gen_53, (37.86,20.4), rotation=pi/2))
rovcel1_x10_lvt.add(gdstk.Reference(pfet_4, (29.71,20.27)))
rovcel1_x10_lvt.add(gdstk.Reference(pfet_4, (30.36,20.27)))
rovcel1_x10_lvt.add(gdstk.Reference(vias_gen_54, (40.12,20.34)))
rovcel1_x10_lvt.add(gdstk.Reference(vias_gen_61, (26.775,20.32), rotation=pi/2))
rovcel1_x10_lvt.add(gdstk.Reference(vias_gen_61, (18.975,20.32), rotation=pi/2))
rovcel1_x10_lvt.add(gdstk.Reference(vias_gen_61, (17.675,20.32), rotation=pi/2))
rovcel1_x10_lvt.add(gdstk.Reference(pfet_4, (19.31,20.27)))
rovcel1_x10_lvt.add(gdstk.Reference(pfet_4, (18.01,20.27)))
rovcel1_x10_lvt.add(gdstk.Reference(pfet_4, (25.16,20.27)))
rovcel1_x10_lvt.add(gdstk.Reference(pfet_4, (26.46,20.27)))
rovcel1_x10_lvt.add(gdstk.Reference(vias_gen_33, (18.475,18.845)))
rovcel1_x10_lvt.add(gdstk.Reference(vias_gen_33, (19.775,18.845)))
rovcel1_x10_lvt.add(gdstk.Reference(pfet_4, (18.66,20.27)))
rovcel1_x10_lvt.add(gdstk.Reference(pfet_4, (17.36,20.27)))
rovcel1_x10_lvt.add(gdstk.Reference(pfet_4, (27.11,20.27)))
rovcel1_x10_lvt.add(gdstk.Reference(pfet_4, (27.76,20.27)))
rovcel1_x10_lvt.add(gdstk.Reference(vias_gen_61, (25.475,20.32), rotation=pi/2))
rovcel1_x10_lvt.add(gdstk.Reference(vias_gen_61, (24.175,20.32), rotation=pi/2))
rovcel1_x10_lvt.add(gdstk.Reference(vias_gen_33, (27.575,18.845)))
rovcel1_x10_lvt.add(gdstk.Reference(vias_gen_33, (26.275,18.845)))
rovcel1_x10_lvt.add(gdstk.Reference(vias_gen_33, (24.975,18.845)))
rovcel1_x10_lvt.add(gdstk.Reference(vias_gen_33, (23.675,18.845)))
rovcel1_x10_lvt.add(gdstk.Reference(vias_gen_33, (22.375,18.845)))
rovcel1_x10_lvt.add(gdstk.Reference(vias_gen_33, (21.075,18.845)))
rovcel1_x10_lvt.add(gdstk.Reference(vias_gen_61, (22.875,20.32), rotation=pi/2))
rovcel1_x10_lvt.add(gdstk.Reference(vias_gen_61, (21.575,20.32), rotation=pi/2))
rovcel1_x10_lvt.add(gdstk.Reference(vias_gen_33, (17.175,18.845)))
rovcel1_x10_lvt.add(gdstk.Reference(vias_gen_61, (20.275,20.32), rotation=pi/2))
rovcel1_x10_lvt.add(gdstk.Reference(pfet_4, (25.81,20.27)))
rovcel1_x10_lvt.add(gdstk.Reference(pfet_4, (21.26,20.27)))
rovcel1_x10_lvt.add(gdstk.Reference(vias_gen_61, (28.075,20.32), rotation=pi/2))
rovcel1_x10_lvt.add(gdstk.Reference(pfet_4, (21.91,20.27)))
rovcel1_x10_lvt.add(gdstk.Reference(pfet_4, (22.56,20.27)))
rovcel1_x10_lvt.add(gdstk.Reference(pfet_4, (23.86,20.27)))
rovcel1_x10_lvt.add(gdstk.Reference(pfet_4, (23.21,20.27)))
rovcel1_x10_lvt.add(gdstk.Reference(pfet_4, (24.51,20.27)))
rovcel1_x10_lvt.add(gdstk.Reference(pfet_4, (19.96,20.27)))
rovcel1_x10_lvt.add(gdstk.Reference(pfet_4, (20.61,20.27)))
rovcel1_x10_lvt.add(gdstk.Reference(vias_gen_33, (25.465,17.4)))
rovcel1_x10_lvt.add(gdstk.Reference(nfet, (25.05,14.19), rotation=pi, x_reflection=True))
rovcel1_x10_lvt.add(gdstk.Reference(vias_gen_33, (24.245,17.4)))
rovcel1_x10_lvt.add(gdstk.Reference(vias_gen_33, (23.125,17.4)))
rovcel1_x10_lvt.add(gdstk.Reference(vias_gen_33, (21.905,17.4)))
rovcel1_x10_lvt.add(gdstk.Reference(vias_gen_33, (20.785,17.4)))
rovcel1_x10_lvt.add(gdstk.Reference(vias_gen_33, (27.805,17.4)))
rovcel1_x10_lvt.add(gdstk.Reference(nfet, (28.61,14.19), rotation=pi, x_reflection=True))
rovcel1_x10_lvt.add(gdstk.Reference(vias_gen_28, (27.925,14.375), rotation=pi/2))
rovcel1_x10_lvt.add(gdstk.Reference(nfet, (27.39,14.19), rotation=pi, x_reflection=True))
rovcel1_x10_lvt.add(gdstk.Reference(nfet, (26.27,14.19), rotation=pi, x_reflection=True))
rovcel1_x10_lvt.add(gdstk.Reference(vias_gen_28, (25.585,14.375), rotation=pi/2))
rovcel1_x10_lvt.add(gdstk.Reference(vias_gen_33, (18.445,17.4)))
rovcel1_x10_lvt.add(gdstk.Reference(vias_gen_33, (17.225,17.4)))
rovcel1_x10_lvt.add(gdstk.Reference(nfet, (19.25,14.19), rotation=pi, x_reflection=True))
rovcel1_x10_lvt.add(gdstk.Reference(vias_gen_33, (19.565,17.4)))
rovcel1_x10_lvt.add(gdstk.Reference(nfet, (18.03,14.19), rotation=pi, x_reflection=True))
rovcel1_x10_lvt.add(gdstk.Reference(nfet, (20.37,14.19), rotation=pi, x_reflection=True))
rovcel1_x10_lvt.add(gdstk.Reference(vias_gen_28, (18.565,14.375), rotation=pi/2))
rovcel1_x10_lvt.add(gdstk.Reference(nfet, (22.71,14.19), rotation=pi, x_reflection=True))
rovcel1_x10_lvt.add(gdstk.Reference(nfet, (21.59,14.19), rotation=pi, x_reflection=True))
rovcel1_x10_lvt.add(gdstk.Reference(vias_gen_28, (20.905,14.375), rotation=pi/2))
rovcel1_x10_lvt.add(gdstk.Reference(vias_gen_28, (23.245,14.375), rotation=pi/2))
rovcel1_x10_lvt.add(gdstk.Reference(vias_gen_33, (26.585,17.4)))
rovcel1_x10_lvt.add(gdstk.Reference(nfet, (23.93,14.19), rotation=pi, x_reflection=True))
rovcel1_x10_lvt.add(gdstk.Reference(vias_gen_27, (29.915,14.375), rotation=pi/2))
rovcel1_x10_lvt.add(gdstk.Reference(vias_gen_12, (34.73,14.375), rotation=pi/2))
rovcel1_x10_lvt.add(gdstk.Reference(vias_gen_42, (38.755,16.48), rotation=pi/2))
rovcel1_x10_lvt.add(gdstk.Reference(vias_gen_50, (40.98,13.79)))
rovcel1_x10_lvt.add(gdstk.Reference(nfet, (39.045,14.19), rotation=pi, x_reflection=True))
rovcel1_x10_lvt.add(gdstk.Reference(nfet, (37.835,14.19), rotation=pi, x_reflection=True))
rovcel1_x10_lvt.add(gdstk.Reference(vias_gen_32, (37.565,14.375)))
rovcel1_x10_lvt.add(gdstk.Reference(vias_gen_32, (35.145,14.375)))
rovcel1_x10_lvt.add(gdstk.Reference(vias_gen_12, (39.23,14.375), rotation=pi/2))
rovcel1_x10_lvt.add(gdstk.Reference(vias_gen_39, (36.355,14.375)))
rovcel1_x10_lvt.add(gdstk.Reference(vias_gen_50, (32.015,13.79)))
rovcel1_x10_lvt.add(gdstk.Reference(vias_gen_37, (32.81,16.7)))
rovcel1_x10_lvt.add(gdstk.Reference(vias_gen_37, (30.64,16.93)))
rovcel1_x10_lvt.add(gdstk.Reference(vias_gen_56, (33.505,17.15)))
rovcel1_x10_lvt.add(gdstk.Reference(nfet, (36.625,14.19), rotation=pi, x_reflection=True))
rovcel1_x10_lvt.add(gdstk.Reference(vias_gen_37, (39.77,16.03)))
rovcel1_x10_lvt.add(gdstk.Reference(nfet, (35.415,14.19), rotation=pi, x_reflection=True))
rovcel1_x10_lvt.add(gdstk.Reference(nfet, (8.665,14.19), rotation=pi, x_reflection=True))
rovcel1_x10_lvt.add(gdstk.Reference(pfet_4, (11.51,20.27)))
rovcel1_x10_lvt.add(gdstk.Reference(pfet_4, (12.16,20.27)))
rovcel1_x10_lvt.add(gdstk.Reference(pfet_4, (13.46,20.27)))
rovcel1_x10_lvt.add(gdstk.Reference(pfet_4, (14.11,20.27)))
rovcel1_x10_lvt.add(gdstk.Reference(pfet_4, (14.76,20.27)))
rovcel1_x10_lvt.add(gdstk.Reference(vias_gen_30, (2.23,14.375)))
rovcel1_x10_lvt.add(gdstk.Reference(pfet_4, (15.41,20.27)))
rovcel1_x10_lvt.add(gdstk.Reference(nfet, (3.72,14.19), rotation=pi, x_reflection=True))
rovcel1_x10_lvt.add(gdstk.Reference(vias_gen_36, (4.675,18.845)))
rovcel1_x10_lvt.add(gdstk.Reference(pfet_4, (12.81,20.27)))
rovcel1_x10_lvt.add(gdstk.Reference(pfet_4, (3.45,20.27)))
rovcel1_x10_lvt.add(gdstk.Reference(pfet_4, (2.8,20.27)))
rovcel1_x10_lvt.add(gdstk.Reference(pfet_4, (1.56,20.27)))
rovcel1_x10_lvt.add(gdstk.Reference(vias_gen_31, (3.435,17.8)))
rovcel1_x10_lvt.add(gdstk.Reference(vias_gen_16, (3.765,20.34), rotation=pi/2))
rovcel1_x10_lvt.add(gdstk.Reference(vias_gen_12, (3.905,14.375), rotation=pi/2))
rovcel1_x10_lvt.add(gdstk.Reference(vias_gen_12, (1.825,14.375), rotation=pi/2))
rovcel1_x10_lvt.add(gdstk.Reference(vias_gen_33, (2.915,17.4)))
rovcel1_x10_lvt.add(gdstk.Reference(vias_gen_33, (1.705,17.4)))
rovcel1_x10_lvt.add(gdstk.Reference(vias_gen_33, (6.74,17.4)))
rovcel1_x10_lvt.add(gdstk.Reference(vias_gen_33, (16.105,17.4)))
rovcel1_x10_lvt.add(gdstk.Reference(vias_gen_33, (14.88,17.4)))
rovcel1_x10_lvt.add(gdstk.Reference(vias_gen_33, (13.76,17.4)))
rovcel1_x10_lvt.add(gdstk.Reference(vias_gen_33, (12.54,17.4)))
rovcel1_x10_lvt.add(gdstk.Reference(vias_gen_33, (11.42,17.4)))
rovcel1_x10_lvt.add(gdstk.Reference(vias_gen_33, (10.2,17.4)))
rovcel1_x10_lvt.add(gdstk.Reference(vias_gen_27, (6.86,14.375), rotation=pi/2))
rovcel1_x10_lvt.add(gdstk.Reference(vias_gen_33, (9.08,17.4)))
rovcel1_x10_lvt.add(gdstk.Reference(vias_gen_33, (7.86,17.4)))
rovcel1_x10_lvt.add(gdstk.Reference(vias_gen_33, (7.86,17.4)))
rovcel1_x10_lvt.add(gdstk.Reference(nfet, (7.545,14.19), rotation=pi, x_reflection=True))
rovcel1_x10_lvt.add(gdstk.Reference(vias_gen_28, (11.54,14.375), rotation=pi/2))
rovcel1_x10_lvt.add(gdstk.Reference(nfet, (11.005,14.19), rotation=pi, x_reflection=True))
rovcel1_x10_lvt.add(gdstk.Reference(nfet, (9.885,14.19), rotation=pi, x_reflection=True))
rovcel1_x10_lvt.add(gdstk.Reference(pfet_4, (0.91,20.27)))
rovcel1_x10_lvt.add(gdstk.Reference(vias_gen_28, (13.88,14.375), rotation=pi/2))
rovcel1_x10_lvt.add(gdstk.Reference(vias_gen_33, (15.875,18.845)))
rovcel1_x10_lvt.add(gdstk.Reference(vias_gen_33, (14.575,18.845)))
rovcel1_x10_lvt.add(gdstk.Reference(nfet, (13.345,14.19), rotation=pi, x_reflection=True))
rovcel1_x10_lvt.add(gdstk.Reference(vias_gen_33, (13.275,18.845)))
rovcel1_x10_lvt.add(gdstk.Reference(vias_gen_33, (11.975,18.845)))
rovcel1_x10_lvt.add(gdstk.Reference(vias_gen_33, (10.675,18.845)))
rovcel1_x10_lvt.add(gdstk.Reference(vias_gen_33, (9.375,18.845)))
rovcel1_x10_lvt.add(gdstk.Reference(nfet, (12.225,14.19), rotation=pi, x_reflection=True))
rovcel1_x10_lvt.add(gdstk.Reference(vias_gen_61, (11.175,20.32), rotation=pi/2))
rovcel1_x10_lvt.add(gdstk.Reference(vias_gen_61, (9.875,20.32), rotation=pi/2))
rovcel1_x10_lvt.add(gdstk.Reference(vias_gen_61, (8.575,20.32), rotation=pi/2))
rovcel1_x10_lvt.add(gdstk.Reference(vias_gen_61, (7.275,20.32), rotation=pi/2))
rovcel1_x10_lvt.add(gdstk.Reference(vias_gen_61, (4.465,20.32), rotation=pi/2))
rovcel1_x10_lvt.add(gdstk.Reference(vias_gen_43, (2.245,20.32)))
rovcel1_x10_lvt.add(gdstk.Reference(vias_gen_60, (0.845,20.32)))
rovcel1_x10_lvt.add(gdstk.Reference(vias_gen_28, (16.22,14.375), rotation=pi/2))
rovcel1_x10_lvt.add(gdstk.Reference(vias_gen_61, (16.375,20.32), rotation=pi/2))
rovcel1_x10_lvt.add(gdstk.Reference(vias_gen_61, (15.075,20.32), rotation=pi/2))
rovcel1_x10_lvt.add(gdstk.Reference(vias_gen_61, (13.775,20.32), rotation=pi/2))
rovcel1_x10_lvt.add(gdstk.Reference(vias_gen_61, (12.475,20.32), rotation=pi/2))
rovcel1_x10_lvt.add(gdstk.Reference(vias_gen_61, (5.975,20.32), rotation=pi/2))
rovcel1_x10_lvt.add(gdstk.Reference(vias_gen_33, (8.075,18.845)))
rovcel1_x10_lvt.add(gdstk.Reference(vias_gen_33, (6.775,18.845)))
rovcel1_x10_lvt.add(gdstk.Reference(vias_gen_33, (5.475,18.845)))
rovcel1_x10_lvt.add(gdstk.Reference(vias_gen_16, (1.875,20.34), rotation=pi/2))
rovcel1_x10_lvt.add(gdstk.Reference(vias_gen_34, (1.375,17.8)))
rovcel1_x10_lvt.add(gdstk.Reference(pfet_4, (5.66,20.27)))
rovcel1_x10_lvt.add(gdstk.Reference(pfet_4, (5.01,20.27)))
rovcel1_x10_lvt.add(gdstk.Reference(pfet_4, (6.31,20.27)))
rovcel1_x10_lvt.add(gdstk.Reference(pfet_4, (6.96,20.27)))
rovcel1_x10_lvt.add(gdstk.Reference(pfet_4, (8.26,20.27)))
rovcel1_x10_lvt.add(gdstk.Reference(pfet_4, (7.61,20.27)))
rovcel1_x10_lvt.add(gdstk.Reference(pfet_4, (8.91,20.27)))
rovcel1_x10_lvt.add(gdstk.Reference(pfet_4, (9.56,20.27)))
rovcel1_x10_lvt.add(gdstk.Reference(pfet_4, (10.86,20.27)))
rovcel1_x10_lvt.add(gdstk.Reference(pfet_4, (10.21,20.27)))
rovcel1_x10_lvt.add(gdstk.Reference(nfet, (15.685,14.19), rotation=pi, x_reflection=True))
rovcel1_x10_lvt.add(gdstk.Reference(nfet, (14.565,14.19), rotation=pi, x_reflection=True))
rovcel1_x10_lvt.add(gdstk.Reference(nfet, (2.51,14.19), rotation=pi, x_reflection=True))
rovcel1_x10_lvt.add(gdstk.Reference(vias_gen_33, (6.74,17.4)))
rovcel1_x10_lvt.add(gdstk.Reference(vias_gen_28, (9.2,14.375), rotation=pi/2))
rovcel1_x10_lvt.add(gdstk.Reference(vias_gen_10, (-5.955,2.565), rotation=pi/2))
rovcel1_x10_lvt.add(gdstk.Reference(pfet_2, (-6.92,2.495)))
rovcel1_x10_lvt.add(gdstk.Reference(pfet_2, (-5.03,2.49)))
rovcel1_x10_lvt.add(gdstk.Reference(vias_gen, (-7.835,7.67)))
rovcel1_x10_lvt.add(gdstk.Reference(vias_gen_10, (-4.065,2.565), rotation=pi/2))
rovcel1_x10_lvt.add(gdstk.Reference(vias_gen_2, (-4.395,0.6)))
rovcel1_x10_lvt.add(gdstk.Reference(vias_gen_7, (-3.955,-3.4), rotation=pi/2))
rovcel1_x10_lvt.add(gdstk.Reference(vias_gen_6, (-4.86,-0.34)))
rovcel1_x10_lvt.add(gdstk.Reference(pfet_2, (-4.38,2.49)))
rovcel1_x10_lvt.add(gdstk.Reference(vias_gen_6, (-3.945,-0.34)))
rovcel1_x10_lvt.add(gdstk.Reference(nfet_2, (-4.205,-3.585), rotation=pi, x_reflection=True))
rovcel1_x10_lvt.add(gdstk.Reference(nfet_2, (-5.225,-3.585), rotation=pi, x_reflection=True))
rovcel1_x10_lvt.add(gdstk.Reference(vias_gen_7, (-5.965,-3.4), rotation=pi/2))
rovcel1_x10_lvt.add(gdstk.Reference(vias_gen_6, (-6.775,-0.34)))
rovcel1_x10_lvt.add(gdstk.Reference(vias_gen_6, (-5.87,-0.34)))
rovcel1_x10_lvt.add(gdstk.Reference(vias_gen, (-7.845,-4.64)))
rovcel1_x10_lvt.add(gdstk.Reference(pfet_2, (-6.27,2.495)))
rovcel1_x10_lvt.add(gdstk.Reference(vias_gen_2, (-6.405,0.6)))
rovcel1_x10_lvt.add(gdstk.Label('OUT', (41.715,17.99), layer=69, texttype=5))
rovcel1_x10_lvt.add(gdstk.Label('VDD', (0.165,25.77), layer=69, texttype=5))
rovcel1_x10_lvt.add(gdstk.Label('IN', (0.29,18.01), layer=69, texttype=5))
rovcel1_x10_lvt.add(gdstk.Label('IN', (0.29,18.01), layer=69, texttype=5))
rovcel1_x10_lvt.add(gdstk.Label('GND', (0.3,13.355), layer=69, texttype=5))
rovcel1_x10_lvt.add(gdstk.Label('Drain_Force', (41.16,14.765), layer=70, texttype=5))
rovcel1_x10_lvt.add(gdstk.Label('RON', (39.965,14.345), layer=70, texttype=5))
rovcel1_x10_lvt.add(gdstk.Label('RO', (32.99,14.385), layer=70, texttype=5))
rovcel1_x10_lvt.add(gdstk.Label('Drain_Sense', (32.205,15.02), layer=70, texttype=5))
rovcel1_x10_lvt.add(gdstk.Label('DUT_Header', (30.83,14.38), layer=70, texttype=5))
rovcel1_x10_lvt.add(gdstk.Label('DUT_Footer', (5.06,14.26), layer=70, texttype=5))

lib.write_gds('rovcel1_x10_LVT.gds')
